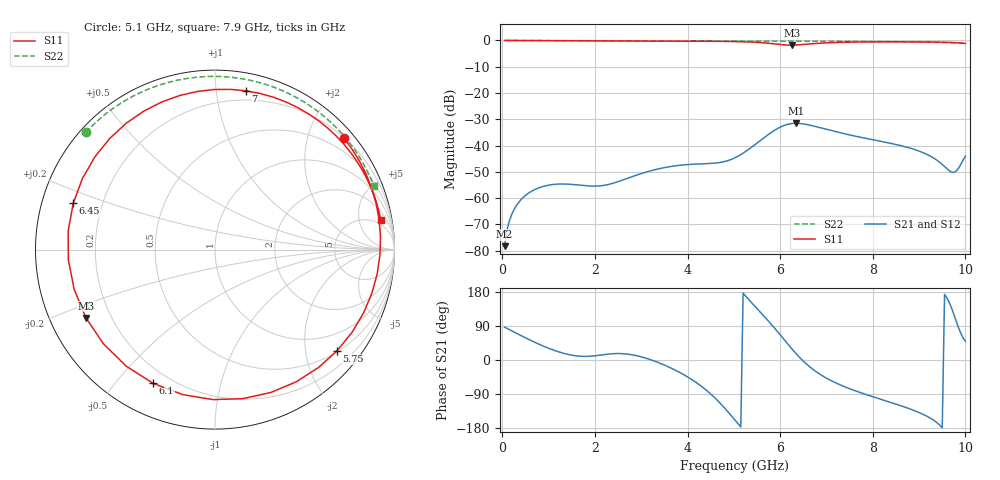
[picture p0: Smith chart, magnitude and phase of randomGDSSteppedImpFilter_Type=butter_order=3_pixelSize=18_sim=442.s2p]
! freq	dB(S11)	phase(S11)	dB(S12)	phase(S12)
!  dB(S21)	phase(S21)	dB(S22)	phase(S22)
!S-par simulation data
#  GHz  S  DB  R 50
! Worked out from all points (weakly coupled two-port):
!   200 points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, 50 MHz to 10 GHz, reference 50 ohm
!   highest |S21| = -31.52 dB at 6.35 GHz (marker M1); lowest = -78.3 dB at 50 MHz (marker M2)
!   lowest |S11| = -1.8 dB at 6.25 GHz (marker M3), VSWR 9.72, Z = 5.46 - j12.3 ohm
!   |S11| at or under -10 dB: nowhere
!   |S22| runs from -1.0 to 0.0 dB; largest |S21 - S12| = 0
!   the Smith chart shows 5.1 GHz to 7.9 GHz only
!   S11 on the Smith chart (normalised r, x): 5.1 GHz: 0.21, +2.66; 5.75 GHz: 0.52, -2.68; 6.1 GHz: 0.14, -0.63; 6.45 GHz: 0.09, +0.16; 7 GHz: 0.13, +1.21; 7.9 GHz: 4, +10
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0.05  -0.00 -3.8  -78.26 86.8  -78.26 86.8  -0.00 -2.7
0.2  -0.02 -15.1  -66.32 77.2  -66.32 77.2  -0.02 -10.9
0.5  -0.05 -37.2  -58.96 58.6  -58.96 58.6  -0.04 -26.9
1.1  -0.10 -79.1  -54.78 26.4  -54.78 26.4  -0.07 -57.9
1.75  -0.13 -119.7  -55.19 9.5  -55.19 9.5  -0.10 -89.2
2.6  -0.16 -167.1  -53.10 16.7  -53.10 16.7  -0.14 -126.1
3.4  -0.20 150.5  -48.74 -8.2  -48.74 -8.2  -0.17 -157.9
4.35  -0.28 96.2  -46.91 -74.1  -46.91 -74.1  -0.21 166.2
5.05  -0.43 45.4  -44.41 -162.2  -44.41 -162.2  -0.24 139.7
5.1  -0.45 40.9  -43.94 -169.4  -43.94 -169.4  -0.25 137.8
5.45  -0.68 4.4  -39.71 142.3  -39.71 142.3  -0.27 124.3
5.75  -1.08 -39.7  -35.72 102.3  -35.72 102.3  -0.28 112.5
6.1  -1.71 -114.8  -32.25 51.8  -32.25 51.8  -0.30 98.5
6.25  -1.79 -152.1  -31.62 29.7  -31.62 29.7  -0.31 92.4
6.35  -1.73 -176.1  -31.52 15.8  -31.52 15.8  -0.31 88.2
6.45  -1.61 161.9  -31.63 3.0  -31.63 3.0  -0.32 84.1
6.7  -1.23 117.1  -32.46 -24.0  -32.46 -24.0  -0.33 73.7
7  -0.90 79.0  -33.81 -47.9  -33.81 -47.9  -0.35 60.9
7.9  -0.55 10.1  -37.41 -92.9  -37.41 -92.9  -0.42 21.7
8.35  -0.52 -14.0  -39.01 -110.4  -39.01 -110.4  -0.47 1.8
9.7  -0.77 -77.3  -50.07 137.7  -50.07 137.7  -0.84 -59.7
10  -1.16 -97.2  -44.01 49.6  -44.01 49.6  -1.00 -74.2
